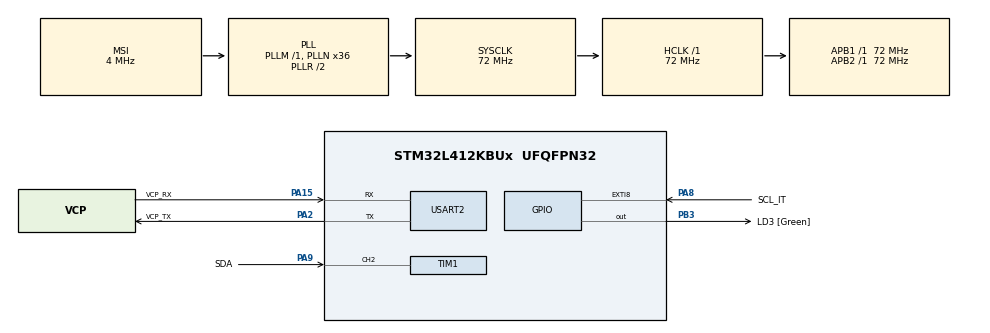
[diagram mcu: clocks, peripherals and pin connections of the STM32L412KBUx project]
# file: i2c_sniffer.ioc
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Mcu.Family=STM32L4
Mcu.Name=STM32L412KBUx
Mcu.Package=UFQFPN32
NVIC.EXTI9_5_IRQn=true\:5\:0\:true\:false\:true\:true\:true\:true
NVIC.PriorityGroup=NVIC_PRIORITYGROUP_4
NVIC.TIM1_CC_IRQn=true\:1\:0\:true\:false\:true\:true\:true\:true
PA0-CK_IN.Mode=HSE-External-Clock-Source-for-LittleOrca
PA0-CK_IN.Signal=RCC_CK_IN
PA13\ (JTMS/SWDIO).GPIO_Label=SWDIO
PA13\ (JTMS/SWDIO).Mode=Serial_Wire
PA13\ (JTMS/SWDIO).Signal=SYS_JTMS-SWDIO
PA14\ (JTCK/SWCLK).GPIO_Label=SWCLK
PA14\ (JTCK/SWCLK).Mode=Serial_Wire
PA14\ (JTCK/SWCLK).Signal=SYS_JTCK-SWCLK
PA15\ (JTDI).GPIO_Label=VCP_RX
PA15\ (JTDI).Mode=Asynchronous
PA15\ (JTDI).Signal=USART2_RX
PA2.GPIO_Label=VCP_TX
PA2.Mode=Asynchronous
PA2.Signal=USART2_TX
PA8.GPIO_Label=SCL_IT
PA8.Signal=GPXTI8
PA9.GPIO_Label=SDA
PA9.GPIO_Speed=GPIO_SPEED_FREQ_VERY_HIGH
PA9.Signal=SharedStack_PA9
PA9.Stacked=true
PB3\ (JTDO/TRACESWO).GPIO_Label=LD3 [Green]
PB3\ (JTDO/TRACESWO).Signal=GPIO_Output
PC14-OSC32_IN\ (PC14).Mode=LSE-External-Oscillator
PC14-OSC32_IN\ (PC14).Signal=RCC_OSC32_IN
PC15-OSC32_OUT\ (PC15).Mode=LSE-External-Oscillator
PC15-OSC32_OUT\ (PC15).Signal=RCC_OSC32_OUT
ProjectManager.HeapSize=0x200
ProjectManager.StackSize=0x400
ProjectManager.TargetToolchain=STM32CubeIDE
RCC.ADCFreq_Value=72000000
RCC.AHBFreq_Value=72000000
RCC.APB1Freq_Value=72000000
RCC.APB1TimFreq_Value=72000000
RCC.APB2Freq_Value=72000000
RCC.APB2TimFreq_Value=72000000
RCC.CortexFreq_Value=72000000
RCC.FLatency=FLASH_LATENCY_4
RCC.HCLKFreq_Value=72000000
RCC.HSE_VALUE=8000000
RCC.HSI48_VALUE=48000000
RCC.HSICalibrationValue=16
RCC.HSI_VALUE=16000000
RCC.MSI_VALUE=4000000
RCC.PLLN=36
RCC.SYSCLKFreq_VALUE=72000000
RCC.SYSCLKSource=RCC_SYSCLKSOURCE_PLLCLK
RCC.USBFreq_Value=4000000
RCC.VCOOutputFreq_Value=144000000
SH.SharedStack_PA9.0=GPIO_Input+0
SH.SharedStack_PA9.1=TIM1_CH2,Input_Capture2_from_TI2
TIM1.Channel-Input_Capture2_from_TI2=TIM_CHANNEL_2
TIM1.ICFilter_CH2=1
TIM1.ICPolarity_CH2=TIM_INPUTCHANNELPOLARITY_BOTHEDGE
TIM1.ICPrescaler-Input_Capture2_from_TI2=TIM_ICPSC_DIV1
TIM1.Period=0
USART2.VirtualMode-Asynchronous=VM_ASYNC
VP_TIM1_VS_ClockSourceINT.Mode=Internal
board=NUCLEO-L412KB

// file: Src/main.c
/* USER CODE BEGIN Header */
/**
  ******************************************************************************
  * @file           : main.c
  * @brief          : Main program body
  ******************************************************************************
  * @attention
  *
  * Copyright (c) 2024 STMicroelectronics.
  * All rights reserved.
  *
  * This software is licensed under terms that can be found in the LICENSE file
  * in the root directory of this software component.
  * If no LICENSE file comes with this software, it is provided AS-IS.
  *
  ******************************************************************************
  */
/* USER CODE END Header */
#include "main.h"

/* USER CODE BEGIN Includes */
#include <string.h>
#include <stdio.h>
#include "buffer.h"
/* USER CODE END Includes */

TIM_HandleTypeDef htim1;

UART_HandleTypeDef huart2;

void SystemClock_Config(void);
static void MX_GPIO_Init(void);
static void MX_USART2_UART_Init(void);
static void MX_TIM1_Init(void);
/* USER CODE BEGIN PFP */
#ifdef __GNUC__
/* With GCC, small printf (option LD Linker->Libraries->Small printf
   set to 'Yes') calls __io_putchar() */
#define PUTCHAR_PROTOTYPE int __io_putchar(int ch)
#else
#define PUTCHAR_PROTOTYPE int fputc(int ch, FILE *f)
#endif /* __GNUC__ */
/* USER CODE END PFP */

int main(void)
{

  /* MCU Configuration--------------------------------------------------------*/

  /* Reset of all peripherals, Initializes the Flash interface and the Systick. */
  HAL_Init();

  /* Configure the system clock */
  SystemClock_Config();

  /* Initialize all configured peripherals */
  MX_GPIO_Init();
  MX_USART2_UART_Init();
  MX_TIM1_Init();
  /* USER CODE BEGIN 2 */

  char ch = 'a';
  HAL_UART_Transmit(&huart2, (uint8_t *)&ch, 1, 0xFFFF); // just transmit an 'a'

  printf("\r\n ** I2C Sniffer **\r\n");
  printf("Key: \r\n");
  printf("\e[32m Left [\e[39m: (re)START \r\n");
  printf("\e[31mRight ]\e[39m:     STOP \r\n");
  printf("\r\n");
  printf("\e[36mCyan\e[39m: Address (hex) \r\n");
  printf("\e[33m   R\e[39m:   Read from master \r\n");
  printf("\e[33m   W\e[39m:  Write   to slave \r\n");
  printf("\r\n");
  printf("\e[39mWhite\e[39m: Data (hex) \r\n");
  printf("\e[33m    A\e[39m:   ACK (acknowledged) \r\n");
  printf("\e[33m    N\e[39m:  NACK (not acknowledged -- note: this is not an error) \r\n");
  printf("\r\n Enjoy! \r\n\r\n");

  // Too many variables!
  int16_t dataLeft = 0; // The number of I2C bits left to process
  uint8_t pendingData = 0; // The current byte being processed
  uint8_t pendingACK = 0; // Whether we have received ACK for the current byte
  uint8_t pendingRW = 0; // Whether a register is being Read
  uint8_t pendingExists = 0; // Whether we need to print the data
  uint8_t waitingForRegister = 0; // Whether we have received a (Re)start condition and are expecting a register address
  uint8_t dump = 0; // Whether we are dumping data due to a TIMEOUT

  uint32_t oldTimer = HAL_GetTick();

  setbuf(stdout, NULL); // Disable flushing; This might make the code slower, but makes sure everything is sent without
  	  	  	  	  	  	// having to wait for a newline
  /* USER CODE END 2 */

  /* Infinite loop */
  /* USER CODE BEGIN WHILE */

#define BUFFER_SCL_EVENT_bm 0x80
#define BUFFER_SDA_EVENT_bm 0x40
#define BUFFER_SDA_PIN_bm 0x01
#define BUFFER_SCL_PIN_bm 0x02

  HAL_TIM_IC_Start_IT(&htim1, TIM_CHANNEL_2);

  while (1)
  {
	  if ((bufferPos - bufferStart + I2C_BUFFER_SIZE) % I2C_BUFFER_SIZE >= 1) { // positive modulo - distance left to cover
		  uint8_t buffer_val = buffer[bufferStart];
		  bufferStart = (bufferStart + 1) % I2C_BUFFER_SIZE;

		  if ((buffer_val & BUFFER_SDA_EVENT_bm) && !(buffer_val & BUFFER_SDA_PIN_bm) && (buffer_val & BUFFER_SCL_PIN_bm)) {

			  // Start condition!!!
			  printf("\e[32m" "[" "\e[39m");

			  if (dataLeft > 0 && dataLeft < 8) {
				  printf("ERROR! Not enough dat %d.\r\n", dataLeft);
			  }

			  dataLeft = 9;
			  pendingData = 0;
			  waitingForRegister = 1;
		  }
		  if ((buffer_val & BUFFER_SDA_EVENT_bm) && (buffer_val & BUFFER_SDA_PIN_bm) && (buffer_val & BUFFER_SCL_PIN_bm)) {
			  // Stop condition!!!
			  printf("\e[31m" "]" "\e[39m\r\n");

			  if (dataLeft > 0 && dataLeft < 8) {
				  printf("ERROR! Not got enough dat.\r\n");
				  dataLeft = 0;
			  }
			  pendingData = 0;
		  }
		  if (buffer_val & BUFFER_SCL_EVENT_bm){
			  if (dataLeft <= 0) {
				  printf("ERROR! Got data without start condition.\r\n");
			  }
			  if (dataLeft > 9) {
				  printf("ERROR! Too much data expected\r\n");
			  }

			  dataLeft--;

			  if (dataLeft == 0) {
				  // Read ACK byte
				  pendingACK = !(buffer_val & BUFFER_SDA_PIN_bm);
				  pendingExists = 1;
			  } else if (dataLeft == 1 && waitingForRegister) {
				  // Read RW byte
				  pendingRW = (buffer_val & BUFFER_SDA_PIN_bm);
			  } else {
				  // Read regular byte
				  pendingData = pendingData << 1 | ((buffer_val & BUFFER_SDA_PIN_bm) ? 1 : 0);
			  }
		  }
	  }

	  if (pendingExists) {
		  // Print received data
		  if (waitingForRegister) {
			  printf("\e[36m%02x", pendingData);
		  } else {
			  printf("\e[39m%02x", pendingData);
		  }
		  printf("\e[33m");
		  if (waitingForRegister) {
			  putchar(pendingRW ? 'R' : 'W');
			  waitingForRegister = 0;
		  }
		  putchar(pendingACK ? 'A' : 'N');

		  // Reset all the values
		  pendingExists = 0;
		  pendingData = 0;
		  dataLeft = 9;

		  oldTimer = HAL_GetTick();

		  printf("\e[39m");

		  if (dump) {
			  printf("\r\n");
			  dump = 0;
		  }
	  }

	  if (HAL_GetTick() - oldTimer > 1500) {
		  printf("\r\nNo data found (TIMEOUT), dumping information...\r\n");
		  printf("Received data: 0x%X, %d bits\r\n", pendingData, 9 - dataLeft);

		  printf("SCL line: %s\e[39m\r\n", HAL_GPIO_ReadPin(SCL_GPIO_Port, SCL_Pin) ? "\e[32mHI" : "\e[31mLO");
		  printf("SDA line: %s\e[39m\r\n", HAL_GPIO_ReadPin(SDA_GPIO_Port, SDA_Pin) ? "\e[32mHI" : "\e[31mLO");

		  pendingExists = dump = 1;
	  }

    /* USER CODE END WHILE */

  }
}

void SystemClock_Config(void)
{
  RCC_OscInitTypeDef RCC_OscInitStruct = {0};
  RCC_ClkInitTypeDef RCC_ClkInitStruct = {0};

  /** Configure the main internal regulator output voltage
  */
  if (HAL_PWREx_ControlVoltageScaling(PWR_REGULATOR_VOLTAGE_SCALE1) != HAL_OK)
  {
    Error_Handler();
  }

  /** Configure LSE Drive Capability
  */
  HAL_PWR_EnableBkUpAccess();
  __HAL_RCC_LSEDRIVE_CONFIG(RCC_LSEDRIVE_LOW);

  /** Initializes the RCC Oscillators according to the specified parameters
  * in the RCC_OscInitTypeDef structure.
  */
  RCC_OscInitStruct.OscillatorType = RCC_OSCILLATORTYPE_LSE|RCC_OSCILLATORTYPE_MSI;
  RCC_OscInitStruct.LSEState = RCC_LSE_ON;
  RCC_OscInitStruct.MSIState = RCC_MSI_ON;
  RCC_OscInitStruct.MSICalibrationValue = 0;
  RCC_OscInitStruct.MSIClockRange = RCC_MSIRANGE_6;
  RCC_OscInitStruct.PLL.PLLState = RCC_PLL_ON;
  RCC_OscInitStruct.PLL.PLLSource = RCC_PLLSOURCE_MSI;
  RCC_OscInitStruct.PLL.PLLM = 1;
  RCC_OscInitStruct.PLL.PLLN = 36;
  RCC_OscInitStruct.PLL.PLLQ = RCC_PLLQ_DIV2;
  RCC_OscInitStruct.PLL.PLLR = RCC_PLLR_DIV2;
  if (HAL_RCC_OscConfig(&RCC_OscInitStruct) != HAL_OK)
  {
    Error_Handler();
  }

  /** Initializes the CPU, AHB and APB buses clocks
  */
  RCC_ClkInitStruct.ClockType = RCC_CLOCKTYPE_HCLK|RCC_CLOCKTYPE_SYSCLK
                              |RCC_CLOCKTYPE_PCLK1|RCC_CLOCKTYPE_PCLK2;
  RCC_ClkInitStruct.SYSCLKSource = RCC_SYSCLKSOURCE_PLLCLK;
  RCC_ClkInitStruct.AHBCLKDivider = RCC_SYSCLK_DIV1;
  RCC_ClkInitStruct.APB1CLKDivider = RCC_HCLK_DIV1;
  RCC_ClkInitStruct.APB2CLKDivider = RCC_HCLK_DIV1;

  if (HAL_RCC_ClockConfig(&RCC_ClkInitStruct, FLASH_LATENCY_4) != HAL_OK)
  {
    Error_Handler();
  }

  /** Enable MSI Auto calibration
  */
  HAL_RCCEx_EnableMSIPLLMode();
}

static void MX_TIM1_Init(void)
{

  TIM_ClockConfigTypeDef sClockSourceConfig = {0};
  TIM_MasterConfigTypeDef sMasterConfig = {0};
  TIM_IC_InitTypeDef sConfigIC = {0};

  htim1.Instance = TIM1;
  htim1.Init.Prescaler = 0;
  htim1.Init.CounterMode = TIM_COUNTERMODE_UP;
  htim1.Init.Period = 0;
  htim1.Init.ClockDivision = TIM_CLOCKDIVISION_DIV1;
  htim1.Init.RepetitionCounter = 0;
  htim1.Init.AutoReloadPreload = TIM_AUTORELOAD_PRELOAD_DISABLE;
  if (HAL_TIM_Base_Init(&htim1) != HAL_OK)
  {
    Error_Handler();
  }
  sClockSourceConfig.ClockSource = TIM_CLOCKSOURCE_INTERNAL;
  if (HAL_TIM_ConfigClockSource(&htim1, &sClockSourceConfig) != HAL_OK)
  {
    Error_Handler();
  }
  if (HAL_TIM_IC_Init(&htim1) != HAL_OK)
  {
    Error_Handler();
  }
  sMasterConfig.MasterOutputTrigger = TIM_TRGO_RESET;
  sMasterConfig.MasterOutputTrigger2 = TIM_TRGO2_RESET;
  sMasterConfig.MasterSlaveMode = TIM_MASTERSLAVEMODE_DISABLE;
  if (HAL_TIMEx_MasterConfigSynchronization(&htim1, &sMasterConfig) != HAL_OK)
  {
    Error_Handler();
  }
  sConfigIC.ICPolarity = TIM_INPUTCHANNELPOLARITY_BOTHEDGE;
  sConfigIC.ICSelection = TIM_ICSELECTION_DIRECTTI;
  sConfigIC.ICPrescaler = TIM_ICPSC_DIV1;
  sConfigIC.ICFilter = 1;
  if (HAL_TIM_IC_ConfigChannel(&htim1, &sConfigIC, TIM_CHANNEL_2) != HAL_OK)
  {
    Error_Handler();
  }

}

static void MX_USART2_UART_Init(void)
{

  huart2.Instance = USART2;
  huart2.Init.BaudRate = 115200;
  huart2.Init.WordLength = UART_WORDLENGTH_8B;
  huart2.Init.StopBits = UART_STOPBITS_1;
  huart2.Init.Parity = UART_PARITY_NONE;
  huart2.Init.Mode = UART_MODE_TX_RX;
  huart2.Init.HwFlowCtl = UART_HWCONTROL_NONE;
  huart2.Init.OverSampling = UART_OVERSAMPLING_16;
  huart2.Init.OneBitSampling = UART_ONE_BIT_SAMPLE_DISABLE;
  huart2.AdvancedInit.AdvFeatureInit = UART_ADVFEATURE_NO_INIT;
  if (HAL_UART_Init(&huart2) != HAL_OK)
  {
    Error_Handler();
  }

}

static void MX_GPIO_Init(void)
{
  GPIO_InitTypeDef GPIO_InitStruct = {0};

  /* GPIO Ports Clock Enable */
  __HAL_RCC_GPIOC_CLK_ENABLE();
  __HAL_RCC_GPIOA_CLK_ENABLE();
  __HAL_RCC_GPIOB_CLK_ENABLE();

  /*Configure GPIO pin Output Level */
  HAL_GPIO_WritePin(LD3_GPIO_Port, LD3_Pin, GPIO_PIN_RESET);

  /*Configure GPIO pin : SCL_IT_Pin */
  GPIO_InitStruct.Pin = SCL_IT_Pin;
  GPIO_InitStruct.Mode = GPIO_MODE_IT_RISING;
  GPIO_InitStruct.Pull = GPIO_NOPULL;
  HAL_GPIO_Init(SCL_IT_GPIO_Port, &GPIO_InitStruct);

  /*Configure GPIO pin : LD3_Pin */
  GPIO_InitStruct.Pin = LD3_Pin;
  GPIO_InitStruct.Mode = GPIO_MODE_OUTPUT_PP;
  GPIO_InitStruct.Pull = GPIO_NOPULL;
  GPIO_InitStruct.Speed = GPIO_SPEED_FREQ_LOW;
  HAL_GPIO_Init(LD3_GPIO_Port, &GPIO_InitStruct);

  /* EXTI interrupt init*/
  HAL_NVIC_SetPriority(EXTI9_5_IRQn, 5, 0);
  HAL_NVIC_EnableIRQ(EXTI9_5_IRQn);

}

/* USER CODE BEGIN 4 */
PUTCHAR_PROTOTYPE
{
  /* Place your implementation of fputc here */
  /* e.g. write a character to the USART1 and Loop until the end of transmission */
  HAL_UART_Transmit(&huart2, (uint8_t *)&ch, 1, 0xFFFF);

  return ch;
}

void HAL_TIM_IC_CaptureCallback(TIM_HandleTypeDef *htim)
{
	uint8_t datum = 0;

    datum |= HAL_GPIO_ReadPin(SCL_GPIO_Port, SCL_Pin) ? BUFFER_SCL_PIN_bm : 0;
    datum |= HAL_GPIO_ReadPin(SDA_GPIO_Port, SDA_Pin) ? BUFFER_SDA_PIN_bm : 0;

    if(htim->Channel == 2) {
    	if(!(datum & BUFFER_SCL_PIN_bm)) {
    		return;
    	}

        datum |= htim->Channel == 2 ? BUFFER_SDA_EVENT_bm : 0;

    	buffer[bufferPos] = datum; // Store the received bit in the buffer

    	bufferPos = (bufferPos + 1) % I2C_BUFFER_SIZE;

    	if (bufferPos == bufferStart) printf("ERROR! I2C buffer too small!\r\n"); // Buffer overflow!
    }
}

void HAL_GPIO_EXTI_Callback(uint16_t GPIO_Pin) {

	if(GPIO_Pin != SCL_IT_Pin)
		return;

    uint8_t datum = 0;

    datum |= HAL_GPIO_ReadPin(SCL_GPIO_Port, SCL_Pin) ? BUFFER_SCL_PIN_bm : 0;
    datum |= HAL_GPIO_ReadPin(SDA_GPIO_Port, SDA_Pin) ? BUFFER_SDA_PIN_bm : 0;
    datum |= GPIO_Pin == SCL_IT_Pin ? BUFFER_SCL_EVENT_bm : 0;

	buffer[bufferPos] = datum; // Store the received bit in the buffer

	bufferPos = (bufferPos + 1) % I2C_BUFFER_SIZE;

	if (bufferPos == bufferStart) printf("ERROR! I2C buffer too small!\r\n"); // Buffer overflow!
}
/* USER CODE END 4 */

void Error_Handler(void)
{
  __disable_irq();
  while (1)
  {
  }
}
